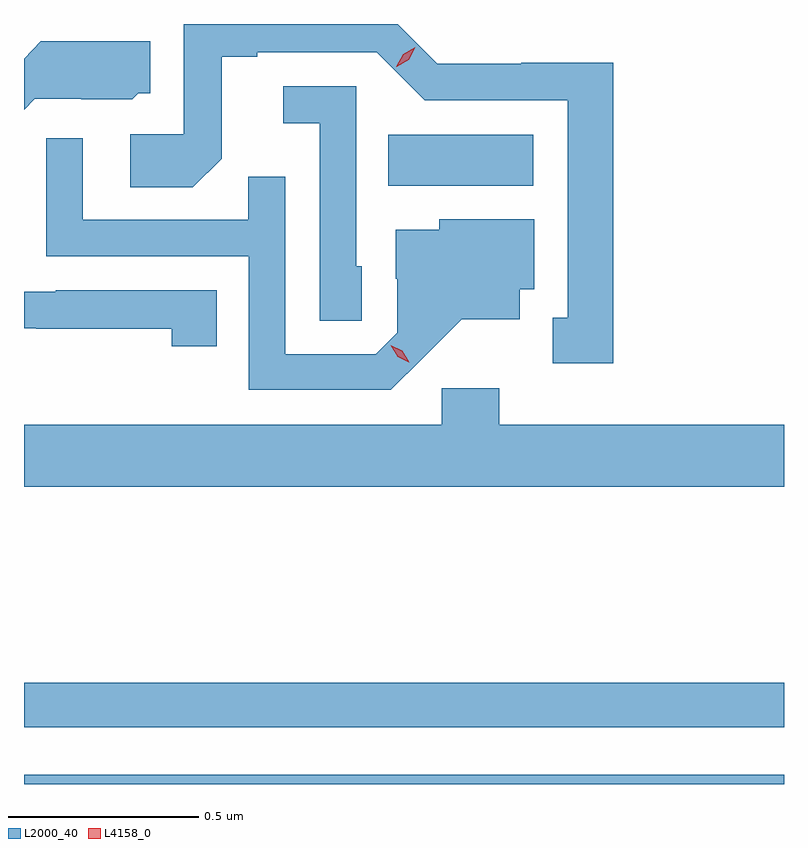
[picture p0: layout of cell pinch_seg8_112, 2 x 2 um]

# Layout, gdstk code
import gdstk
lib = gdstk.Library(unit=1e-6, precision=1e-09)
def R(c, l, rs):  # rectangles x0, y0, x1, y1
    for r in rs: c.add(gdstk.rectangle(r[:2], r[2:], *l))
def P(c, l, *ps):  # polygons
    for p in ps: c.add(gdstk.Polygon(p, *l))
L2000_40 = (2000, 40)
L4158_0 = (4158, 0)

pinch_seg8_112 = lib.new_cell('pinch_seg8_112')
R(pinch_seg8_112, L2000_40, [(1025.075,1086.414,1027.075,1086.438), (1025.075,1086.564,1027.075,1086.68), (1026.034,1087.988,1026.415,1088.122)])
P(pinch_seg8_112, L2000_40, [(1026.625,1088.312),(1026.384,1088.312),(1026.384,1088.31),(1026.162,1088.31),(1026.058,1088.414),(1025.496,1088.414),(1025.496,1088.124),(1025.355,1088.124),(1025.355,1087.984),(1025.519,1087.984),(1025.595,1088.06),(1025.595,1088.328),(1025.689,1088.328),(1025.689,1088.34),(1026.003,1088.34),(1026.129,1088.214),(1026.506,1088.214),(1026.506,1087.641),(1026.467,1087.641),(1026.467,1087.521),(1026.625,1087.521)],
  [(1025.103,1088.217),(1025.226,1088.217),(1025.226,1088.216),(1025.36,1088.216),(1025.376,1088.232),(1025.407,1088.232),(1025.407,1088.368),(1025.119,1088.368),(1025.075,1088.323),(1025.075,1088.189)],
  [(1025.964,1087.776),(1025.949,1087.776),(1025.949,1088.25),(1025.757,1088.25),(1025.757,1088.153),(1025.853,1088.153),(1025.853,1087.633),(1025.964,1087.633)],
  [(1026.124,1087.535),(1026.227,1087.637),(1026.379,1087.637),(1026.379,1087.716),(1026.418,1087.716),(1026.418,1087.9),(1026.168,1087.9),(1026.168,1087.873),(1026.053,1087.873),(1026.053,1087.744),(1026.057,1087.744),(1026.057,1087.602),(1026,1087.545),(1025.763,1087.545),(1025.763,1088.012),(1025.665,1088.012),(1025.665,1087.899),(1025.229,1087.899),(1025.229,1088.113),(1025.133,1088.113),(1025.133,1087.803),(1025.667,1087.803),(1025.667,1087.452),(1026.04,1087.452)],
  [(1025.582,1087.713),(1025.158,1087.713),(1025.158,1087.71),(1025.075,1087.71),(1025.075,1087.613),(1025.107,1087.613),(1025.107,1087.612),(1025.464,1087.612),(1025.464,1087.566),(1025.582,1087.566)],
  [(1027.075,1087.36),(1026.326,1087.36),(1026.326,1087.456),(1026.174,1087.456),(1026.174,1087.36),(1025.075,1087.36),(1025.075,1087.196),(1027.075,1087.196)])
P(pinch_seg8_112, L4158_0, [(1026.055,1088.301),(1026.055,1088.301),(1026.073,1088.334),(1026.104,1088.353),(1026.104,1088.353),(1026.104,1088.353),(1026.087,1088.32),(1026.056,1088.301)],
  [(1026.088,1087.524),(1026.058,1087.539),(1026.04,1087.568),(1026.04,1087.568),(1026.04,1087.568),(1026.071,1087.554),(1026.089,1087.524),(1026.089,1087.524)])

lib.write_gds('pinch_seg8_112.gds')
